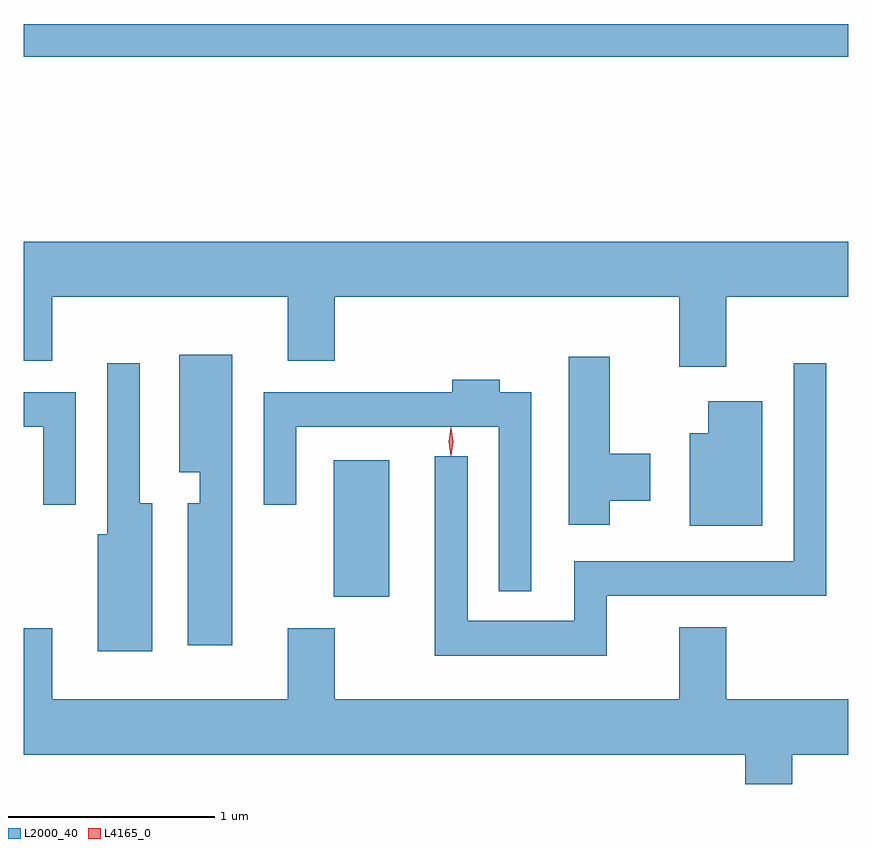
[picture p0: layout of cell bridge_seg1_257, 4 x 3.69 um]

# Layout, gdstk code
import gdstk
lib = gdstk.Library(unit=1e-6, precision=1e-09)
def R(c, l, rs):  # rectangles x0, y0, x1, y1
    for r in rs: c.add(gdstk.rectangle(r[:2], r[2:], *l))
def P(c, l, *ps):  # polygons
    for p in ps: c.add(gdstk.Polygon(p, *l))
L2000_40 = (2000, 40)
L4165_0 = (4165, 0)

bridge_seg1_257 = lib.new_cell('bridge_seg1_257')
R(bridge_seg1_257, L2000_40, [(958.966,898.121,959.234,898.784), (957.461,900.741,961.461,900.899)])
P(bridge_seg1_257, L2000_40, [(960.869,899.576),(961.461,899.576),(961.461,899.844),(957.461,899.844),(957.461,899.266),(957.599,899.266),(957.599,899.576),(958.741,899.576),(958.741,899.266),(958.969,899.266),(958.969,899.576),(960.641,899.576),(960.641,899.236),(960.869,899.236)],
  [(958.474,899.294),(958.216,899.294),(958.216,898.726),(958.316,898.726),(958.316,898.574),(958.256,898.574),(958.256,897.886),(958.474,897.886)],
  [(960.304,898.586),(960.499,898.586),(960.499,898.814),(960.304,898.814),(960.304,899.284),(960.106,899.284),(960.106,898.471),(960.304,898.471)],
  [(960.289,898.126),(961.354,898.126),(961.354,899.253),(961.196,899.253),(961.196,898.294),(960.131,898.294),(960.131,898.004),(959.614,898.004),(959.614,898.803),(959.456,898.803),(959.456,897.836),(960.289,897.836)],
  [(958.084,898.574),(958.024,898.574),(958.024,899.253),(957.866,899.253),(957.866,898.424),(957.821,898.424),(957.821,897.856),(958.084,897.856)],
  [(959.924,899.114),(959.769,899.114),(959.769,899.174),(959.541,899.174),(959.541,899.114),(958.626,899.114),(958.626,898.568),(958.784,898.568),(958.784,898.946),(959.766,898.946),(959.766,898.148),(959.924,898.148)],
  [(957.714,899.114),(957.461,899.114),(957.461,898.946),(957.556,898.946),(957.556,898.568),(957.714,898.568)],
  [(961.044,899.069),(960.781,899.069),(960.781,898.914),(960.691,898.914),(960.691,898.466),(961.044,898.466)],
  [(961.189,897.356),(961.461,897.356),(961.461,897.624),(960.869,897.624),(960.869,897.974),(960.641,897.974),(960.641,897.624),(958.969,897.624),(958.969,897.969),(958.741,897.969),(958.741,897.624),(957.599,897.624),(957.599,897.969),(957.461,897.969),(957.461,897.356),(960.961,897.356),(960.961,897.213),(961.189,897.213)])
P(bridge_seg1_257, L4165_0, [(959.532,898.803),(959.532,898.804),(959.522,898.873),(959.532,898.942),(959.532,898.943),(959.533,898.942),(959.542,898.873),(959.533,898.804)],
  [(959.534,898.807),(959.525,898.874),(959.534,898.94),(959.534,898.94),(959.535,898.94),(959.544,898.874),(959.535,898.807),(959.535,898.807)])

lib.write_gds('bridge_seg1_257.gds')
